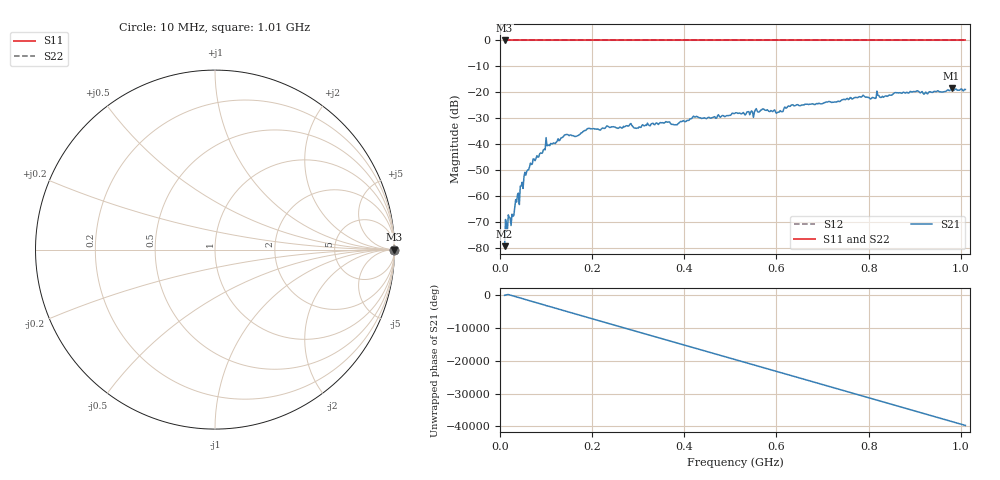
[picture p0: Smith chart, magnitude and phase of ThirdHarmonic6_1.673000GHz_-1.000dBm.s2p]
! 8/16/2025 8:04:07 PM
! C:\ANRITSUVNA\TEMP\TEMP.S2P
! CHANNEL.1
! TR.MEASUREMENT
! RAW.DATA
! RF.CORRECTION.OFF
! AVERAGING.OFF
! IF.BANDWIDTH: 5KHZ
! SWEEPTYPE:  FREQ.SWEEP(Linear)
! Reference Plane Port Info
! PORT:  PORT1  PORT2
! DISTANCE:  0  m  0  m
! TIME:  0  s  0  s
! PHASE.OFFSET:  0  deg.  0  deg.
! LOSS:  0  dB  0  dB
! REF.LOSS:  0  dB  0  dB
! REF.FREQ:  0  Hz  0  Hz
! Power Info
! POWER:  -20  dBm  -20  dBm
! EFF.POWER:  -20  dBm  -20  dBm
! SOURCE.ATTEN:  0  dB  0  dB
! TEST.ATTEN:  0  dB  0  dB
# GHZ S RI R 50.0
! FREQ.GHZ  S11RE  S11IM  S21RE  S21IM  S12RE  S12IM  S22RE  S22IM
!; PortSelection: Port_12
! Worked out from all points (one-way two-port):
!   501 points, 10 MHz to 1.01 GHz, reference 50 ohm
!   highest |S21| = -18.42 dB at 980 MHz (marker M1); lowest = -79.1 dB at 10 MHz (marker M2)
!   lowest |S11| = 0.0 dB at 10 MHz (marker M3)
!   |S11| at or under -10 dB: nowhere
!   |S22| runs from 0.0 to 0.0 dB; largest |S21 - S12| = 1.1
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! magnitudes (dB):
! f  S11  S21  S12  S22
! 10 MHz  0.0  -79.1  0.0  0.0
! 16 MHz  0.0  -73.3  0.0  0.0
! 28 MHz  0.0  -67.7  0.0  0.0
! 36 MHz  0.0  -62.2  0.0  0.0
! 46 MHz  0.0  -56.0  0.0  0.0
! 56 MHz  0.0  -51.8  0.0  0.0
! 70 MHz  0.0  -47.6  0.0  0.0
! 104 MHz  0.0  -40.4  0.0  0.0
! 178 MHz  0.0  -35.5  0.0  0.0
! 194 MHz  0.0  -33.8  0.0  0.0
! 296 MHz  0.0  -33.8  0.0  0.0
! 344 MHz  0.0  -32.3  0.0  0.0
! 382 MHz  0.0  -32.4  0.0  0.0
! 422 MHz  0.0  -29.4  0.0  0.0
! 510 MHz  0.0  -28.0  0.0  0.0
! 570 MHz  0.0  -26.3  0.0  0.0
! 602 MHz  0.0  -27.7  0.0  0.0
! 632 MHz  0.0  -24.9  0.0  0.0
! 678 MHz  0.0  -24.4  0.0  0.0
! 844 MHz  0.0  -21.1  0.0  0.0
! 980 MHz  0.0  -18.4  0.0  0.0
! 1.01 GHz  0.0  -18.9  0.0  0.0
